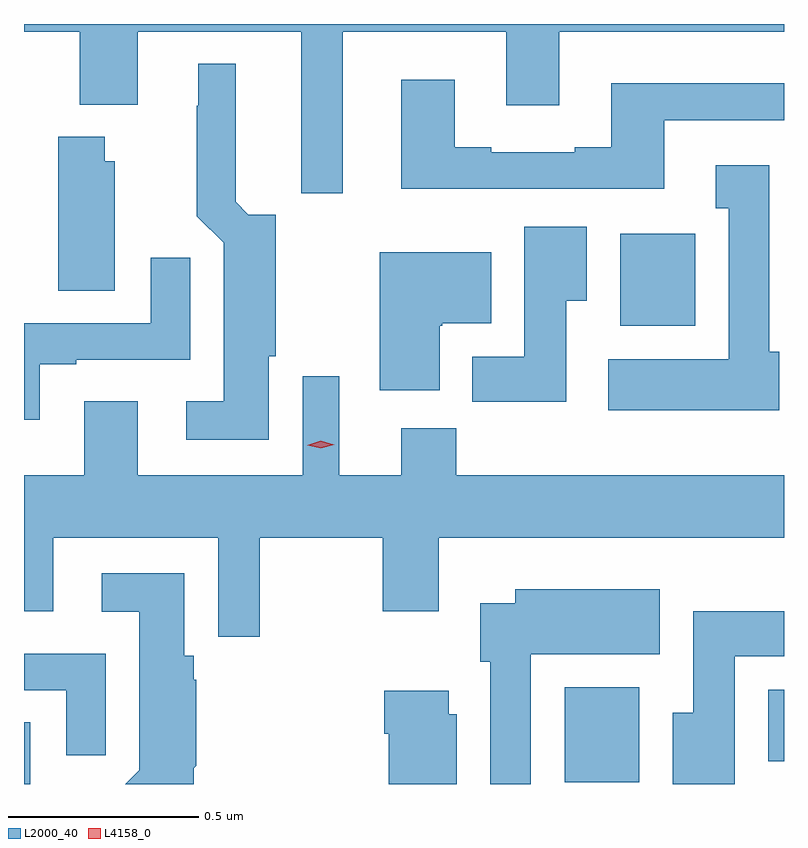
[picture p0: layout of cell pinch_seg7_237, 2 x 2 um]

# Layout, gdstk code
import gdstk
lib = gdstk.Library(unit=1e-6, precision=1e-09)
def R(c, l, rs):  # rectangles x0, y0, x1, y1
    for r in rs: c.add(gdstk.rectangle(r[:2], r[2:], *l))
def P(c, l, *ps):  # polygons
    for p in ps: c.add(gdstk.Polygon(p, *l))
L2000_40 = (2000, 40)
L4158_0 = (4158, 0)

pinch_seg7_237 = lib.new_cell('pinch_seg7_237')
R(pinch_seg7_237, L2000_40, [(753.35,1005.296,753.367,1005.458), (754.773,1005.3,754.969,1005.55), (755.309,1005.356,755.35,1005.544), (754.919,1006.502,755.116,1006.744)])
P(pinch_seg7_237, L2000_40, [(754.189,1007.276),(754.619,1007.276),(754.619,1007.082),(754.759,1007.082),(754.759,1007.276),(755.35,1007.276),(755.35,1007.296),(753.35,1007.296),(753.35,1007.276),(753.497,1007.276),(753.497,1007.084),(753.649,1007.084),(753.649,1007.276),(754.079,1007.276),(754.079,1006.851),(754.189,1006.851)],
  [(753.994,1006.422),(754.012,1006.422),(754.012,1006.794),(753.94,1006.794),(753.907,1006.828),(753.907,1007.191),(753.809,1007.191),(753.809,1007.081),(753.805,1007.081),(753.805,1006.79),(753.875,1006.72),(753.875,1006.303),(753.777,1006.303),(753.777,1006.202),(753.994,1006.202)],
  [(754.571,1006.863),(755.035,1006.863),(755.035,1007.043),(755.35,1007.043),(755.35,1007.14),(754.895,1007.14),(754.895,1006.972),(754.799,1006.972),(754.799,1006.959),(754.579,1006.959),(754.579,1006.972),(754.483,1006.972),(754.483,1007.149),(754.343,1007.149),(754.343,1006.862),(754.571,1006.862)],
  [(753.589,1006.935),(753.562,1006.935),(753.562,1006.999),(753.44,1006.999),(753.44,1006.594),(753.589,1006.594)],
  [(755.338,1006.434),(755.311,1006.434),(755.311,1006.924),(755.171,1006.924),(755.171,1006.811),(755.204,1006.811),(755.204,1006.414),(754.887,1006.414),(754.887,1006.28),(755.338,1006.28)],
  [(754.777,1006.568),(754.831,1006.568),(754.831,1006.762),(754.667,1006.762),(754.667,1006.42),(754.529,1006.42),(754.529,1006.302),(754.777,1006.302)],
  [(754.444,1006.502),(754.45,1006.502),(754.45,1006.508),(754.579,1006.508),(754.579,1006.696),(754.286,1006.696),(754.286,1006.332),(754.444,1006.332)],
  [(753.391,1006.401),(753.487,1006.401),(753.487,1006.413),(753.787,1006.413),(753.787,1006.681),(753.683,1006.681),(753.683,1006.509),(753.35,1006.509),(753.35,1006.254),(753.391,1006.254)],
  [(753.97,1005.944),(754.294,1005.944),(754.294,1005.75),(754.441,1005.75),(754.441,1005.944),(755.35,1005.944),(755.35,1006.108),(754.487,1006.108),(754.487,1006.232),(754.343,1006.232),(754.343,1006.108),(754.18,1006.108),(754.18,1006.369),(754.083,1006.369),(754.083,1006.108),(753.649,1006.108),(753.649,1006.303),(753.509,1006.303),(753.509,1006.108),(753.35,1006.108),(753.35,1005.75),(753.427,1005.75),(753.427,1005.944),(753.861,1005.944),(753.861,1005.684),(753.97,1005.684)],
  [(753.797,1005.338),(753.803,1005.344),(753.803,1005.57),(753.797,1005.57),(753.797,1005.633),(753.772,1005.633),(753.772,1005.85),(753.555,1005.85),(753.555,1005.749),(753.653,1005.749),(753.653,1005.332),(753.617,1005.296),(753.797,1005.296)],
  [(754.684,1005.638),(755.023,1005.638),(755.023,1005.808),(754.643,1005.808),(754.643,1005.772),(754.55,1005.772),(754.55,1005.618),(754.577,1005.618),(754.577,1005.296),(754.684,1005.296)],
  [(755.221,1005.632),(755.35,1005.632),(755.35,1005.75),(755.111,1005.75),(755.111,1005.484),(755.057,1005.484),(755.057,1005.296),(755.221,1005.296)],
  [(753.565,1005.639),(753.35,1005.639),(753.35,1005.543),(753.461,1005.543),(753.461,1005.372),(753.565,1005.372)],
  [(754.489,1005.48),(754.468,1005.48),(754.468,1005.541),(754.298,1005.541),(754.298,1005.428),(754.31,1005.428),(754.31,1005.296),(754.489,1005.296)])
P(pinch_seg7_237, L4158_0, [(754.131,1006.179),(754.095,1006.188),(754.095,1006.188),(754.095,1006.188),(754.131,1006.199),(754.166,1006.189),(754.166,1006.189),(754.166,1006.189)])

lib.write_gds('pinch_seg7_237.gds')
